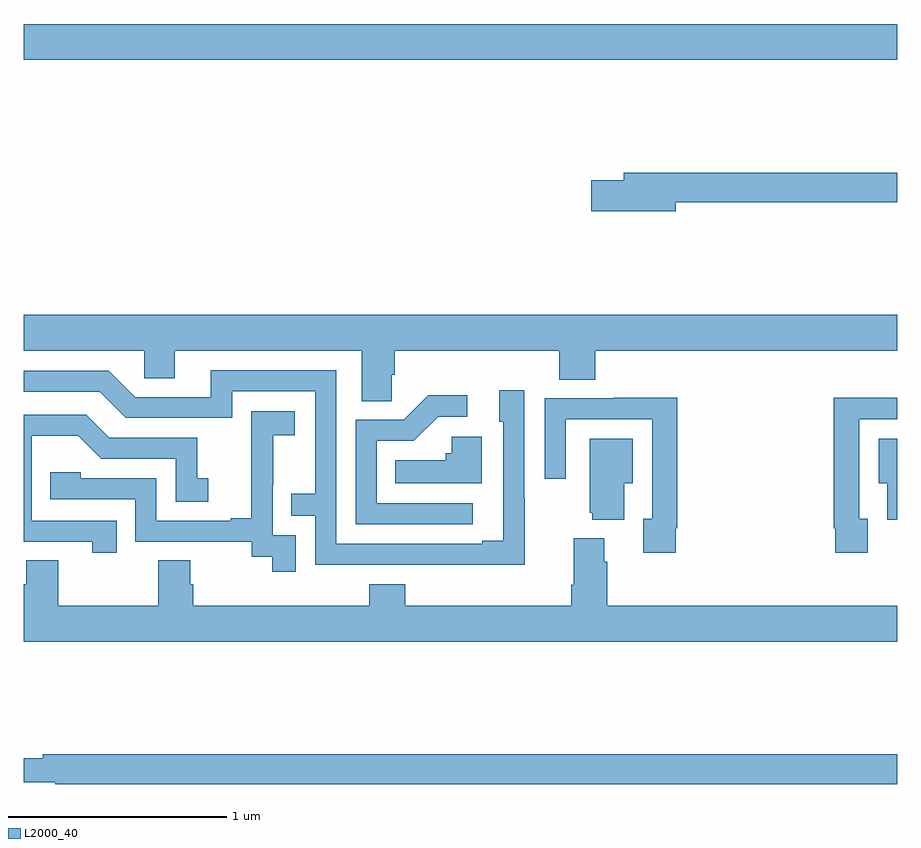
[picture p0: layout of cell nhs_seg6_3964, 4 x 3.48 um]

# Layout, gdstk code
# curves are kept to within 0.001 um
import gdstk
lib = gdstk.Library(unit=1e-6, precision=1e-09)
def R(c, l, rs):  # rectangles x0, y0, x1, y1
    for r in rs: c.add(gdstk.rectangle(r[:2], r[2:], *l))
def P(c, l, *ps):  # polygons
    for p in ps: c.add(gdstk.Polygon(p, *l))
L2000_40 = (2000, 40)

nhs_seg6_3964 = lib.new_cell('nhs_seg6_3964')
R(nhs_seg6_3964, L2000_40, [(345,951.332,349,951.496)])
P(nhs_seg6_3964, L2000_40, [(347.986,950.68),(349,950.68),(349,950.816),(347.747,950.816),(347.747,950.78),(347.598,950.78),(347.598,950.638),(347.986,950.638)],
  [(346.686,949.891),(346.7,949.891),(346.7,950),(347.453,950),(347.453,949.867),(347.618,949.867),(347.618,950),(349,950),(349,950.164),(345,950.164),(345,950),(345.552,950),(345.552,949.873),(345.691,949.873),(345.691,950),(346.547,950),(346.547,949.768),(346.686,949.768)],
  [(347.295,949.325),(347.292,949.325),(347.292,949.819),(347.177,949.819),(347.177,949.674),(347.196,949.674),(347.196,949.129),(347.099,949.129),(347.099,949.116),(346.431,949.116),(346.431,949.911),(345.857,949.911),(345.857,949.788),(345.51,949.788),(345.39,949.908),(345,949.908),(345,949.812),(345.348,949.812),(345.468,949.692),(345.954,949.692),(345.954,949.815),(346.335,949.815),(346.335,949.346),(346.225,949.346),(346.225,949.245),(346.335,949.245),(346.335,949.02),(347.295,949.019)],
  [(347.056,949.302),(346.617,949.302),(346.617,949.587),(346.786,949.587),(346.897,949.698),(347.032,949.698),(347.032,949.796),(346.853,949.796),(346.74,949.683),(346.521,949.683),(346.521,949.206),(347.056,949.206)],
  [(347.986,949.186),(347.993,949.186),(347.993,949.784),(347.701,949.784),(347.701,949.782),(347.385,949.782),(347.385,949.413),(347.481,949.413),(347.481,949.686),(347.877,949.686),(347.877,949.23),(347.837,949.23),(347.837,949.074),(347.986,949.074)],
  [(348.865,949.23),(348.825,949.23),(348.825,949.686),(349,949.686),(349,949.784),(348.709,949.784),(348.709,949.186),(348.717,949.186),(348.717,949.074),(348.865,949.074)],
  [(346.245,949.155),(346.14,949.155),(346.14,949.385),(346.142,949.385),(346.142,949.613),(346.24,949.613),(346.24,949.723),(346.042,949.723),(346.042,949.517),(346.043,949.517),(346.043,949.234),(345.947,949.234),(345.947,949.221),(345.606,949.221),(345.606,949.416),(345.261,949.416),(345.261,949.443),(345.121,949.443),(345.121,949.32),(345.51,949.32),(345.51,949.125),(346.044,949.125),(346.044,949.057),(346.137,949.057),(346.137,948.987),(346.245,948.987)],
  [(345.425,949.221),(345.036,949.221),(345.036,949.61),(345.25,949.61),(345.354,949.506),(345.696,949.506),(345.696,949.308),(345.844,949.308),(345.844,949.417),(345.795,949.417),(345.795,949.602),(345.391,949.602),(345.286,949.707),(345,949.707),(345,949.125),(345.314,949.125),(345.314,949.074),(345.425,949.074)],
  [(347.098,949.606),(346.959,949.606),(346.959,949.53),(346.933,949.53),(346.933,949.498),(346.702,949.498),(346.702,949.394),(347.098,949.394)],
  [(347.749,949.394),(347.788,949.394),(347.788,949.597),(347.591,949.597),(347.591,949.257),(347.603,949.257),(347.603,949.226),(347.749,949.226)],
  [(349,949.597),(348.914,949.597),(348.914,949.394),(348.953,949.394),(348.953,949.226),(349,949.226)],
  [(349,948.832),(347.672,948.832),(347.672,949.034),(347.659,949.034),(347.659,949.141),(347.519,949.141),(347.519,948.928),(347.507,948.928),(347.507,948.832),(346.748,948.832),(346.748,948.931),(346.583,948.931),(346.583,948.832),(345.776,948.832),(345.776,948.93),(345.763,948.93),(345.763,949.04),(345.616,949.04),(345.616,948.832),(345.159,948.832),(345.159,949.04),(345.011,949.04),(345.011,948.93),(345,948.93),(345,948.668),(349,948.668)],
  [(349,948.152),(345.088,948.152),(345.088,948.133),(345,948.133),(345,948.024),(345.145,948.024),(345.145,948.016),(349,948.016)])

lib.write_gds('nhs_seg6_3964.gds')
